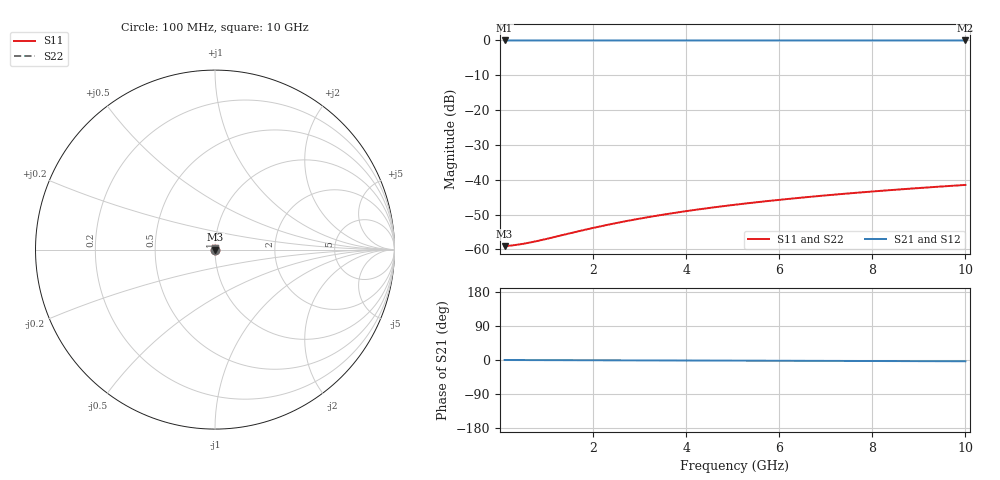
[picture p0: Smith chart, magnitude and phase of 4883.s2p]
# Hz S RI R 50.00
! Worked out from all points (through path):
!   100 points, 100 MHz to 10 GHz, reference 50 ohm
!   highest |S21| = -0.01 dB at 100 MHz (marker M1); lowest = 0.0 dB at 10 GHz (marker M2)
!   lowest |S11| = -59.1 dB at 100 MHz (marker M3), VSWR 1.00, Z = 50.1 + j0.0083 ohm
!   |S11| at or under -10 dB: start of sweep to end of sweep
!   |S22| runs from -59.1 to -41.5 dB; largest |S21 - S12| = 0
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1e8  0.00111 8.28e-05  0.9989 -0.000584  0.9989 -0.000584  0.00111 8.28e-05
3e8  0.00112 0.000248  0.9989 -0.00175  0.9989 -0.00175  0.00112 0.000248
4e8  0.00113 0.000331  0.9989 -0.00233  0.9989 -0.00233  0.00113 0.000331
5e8  0.00113 0.000414  0.9989 -0.00292  0.9989 -0.00292  0.00113 0.000414
7e8  0.00114 0.00058  0.9989 -0.00409  0.9989 -0.00409  0.00114 0.00058
1e9  0.00115 0.000828  0.9988 -0.00584  0.9988 -0.00584  0.00115 0.000828
1.8e9  0.00117 0.00149  0.9988 -0.0105  0.9988 -0.0105  0.00117 0.00149
2.2e9  0.00119 0.00182  0.9987 -0.0128  0.9987 -0.0128  0.00119 0.00182
2.6e9  0.0012 0.00215  0.9987 -0.0152  0.9987 -0.0152  0.0012 0.00215
3e9  0.00121 0.00248  0.9987 -0.0175  0.9987 -0.0175  0.00121 0.00248
3.4e9  0.00123 0.00281  0.9986 -0.0198  0.9986 -0.0198  0.00123 0.00281
3.8e9  0.00125 0.00314  0.9986 -0.0222  0.9986 -0.0222  0.00125 0.00314
4.2e9  0.00127 0.00347  0.9985 -0.0245  0.9985 -0.0245  0.00127 0.00347
4.6e9  0.00129 0.0038  0.9984 -0.0269  0.9984 -0.0269  0.00129 0.0038
5.1e9  0.00132 0.00422  0.9983 -0.0298  0.9983 -0.0298  0.00132 0.00422
5.5e9  0.00134 0.00455  0.9983 -0.0321  0.9983 -0.0321  0.00134 0.00455
5.9e9  0.00137 0.00488  0.9982 -0.0344  0.9982 -0.0344  0.00137 0.00488
6.7e9  0.00142 0.00554  0.998 -0.0391  0.998 -0.0391  0.00142 0.00554
7.5e9  0.00148 0.00619  0.9978 -0.0438  0.9978 -0.0438  0.00148 0.00619
8.4e9  0.00156 0.00693  0.9975 -0.049  0.9975 -0.049  0.00156 0.00693
9.2e9  0.00164 0.00759  0.9973 -0.0537  0.9973 -0.0537  0.00164 0.00759
1e10  0.00172 0.00825  0.997 -0.0584  0.997 -0.0584  0.00172 0.00825
